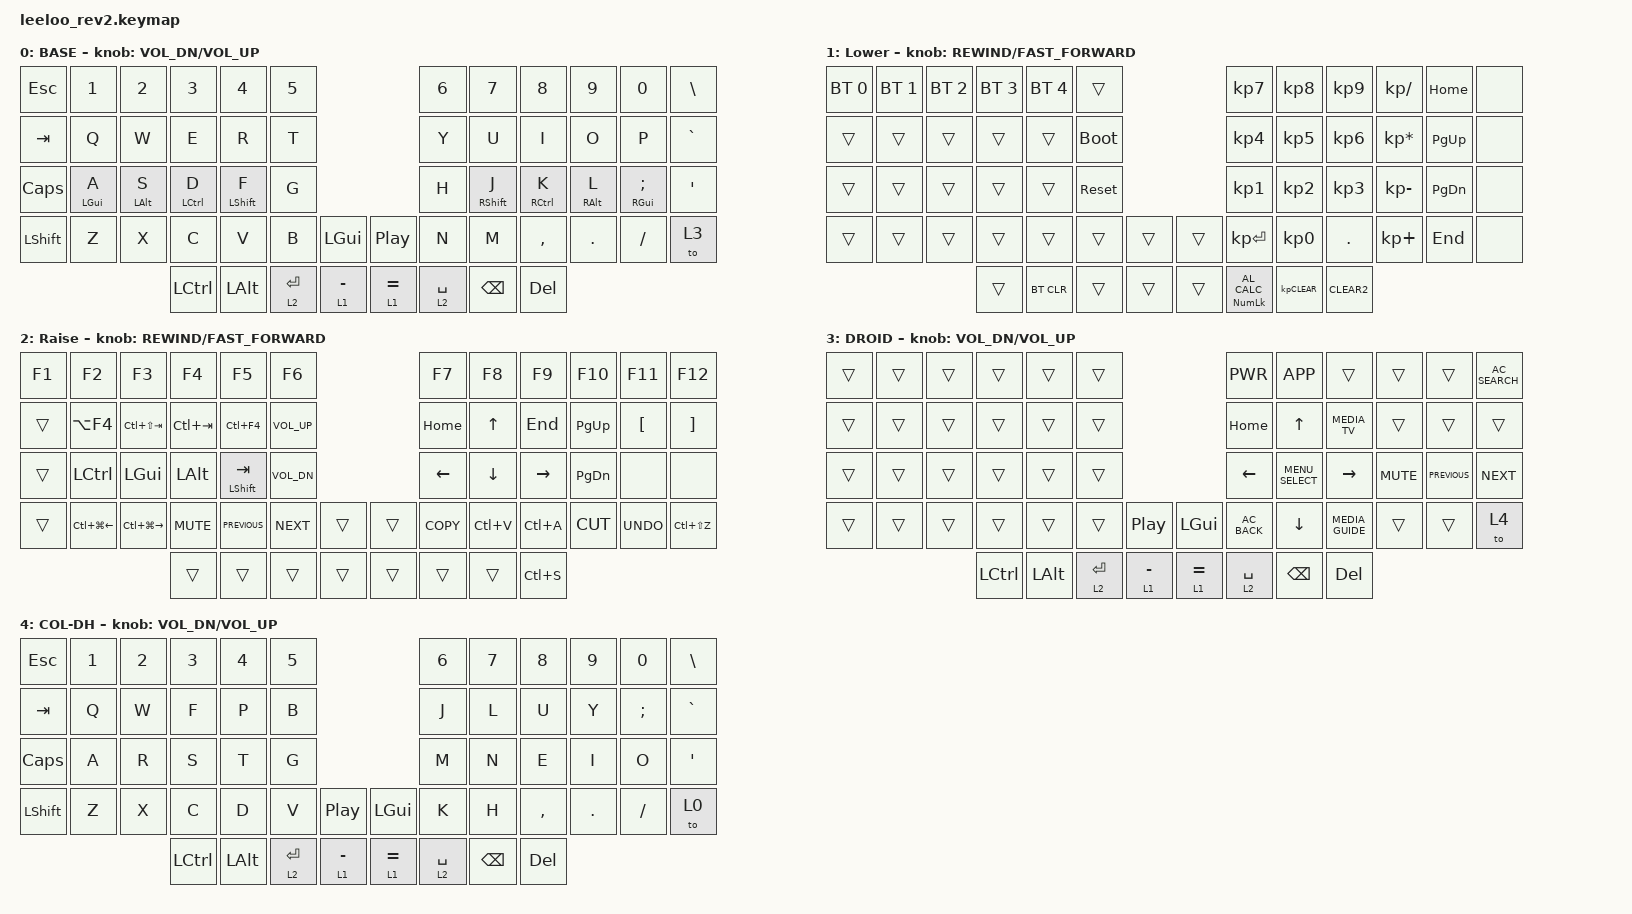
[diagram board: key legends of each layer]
/*
 * Copyright (c) 2022 The ZMK Contributors
 * SPDX-License-Identifier: MIT
 */
// $  west build -d build/left_v2 -p -b nice_nano_v2 -- -DSHIELD="leeloo_rev2_left nice_view_adapter nice_view" -DZMK_CONFIG="boards/shields/leeloo/"
// west build -d build/right_v2 -p -b nice_nano_v2 -- -DSHIELD="leeloo_rev2_right nice_view_adapter nice_view"
// west build -d build/left_v2 -p -b nice_nano_v2 -- -DSHIELD="leeloo_rev2_left nice_view_adapter nice_view"

#include <behaviors.dtsi>
#include <dt-bindings/zmk/outputs.h>
#include <dt-bindings/zmk/keys.h>
#include <dt-bindings/zmk/bt.h>

// Layers
#define BASE       0       // base_layer
#define LOWER      1       // lower_layer
#define RAISE      2       // raise_layer
#define DROID      3       // droid_layer
#define COLDH      4       // coldh_layer

// Key position groups
#define KEYS_L 0 1 2 3 4 5 12 13 14 15 16 17 24 25 26 27 28 29 36 37 38 39 40 41 42
#define KEYS_R 6 7 8 9 10 11 18 19 20 21 22 23 30 31 32 33 34 35 42 43 44 45 46 47 49

// Short versions
// Media / Android
#define APP     &kp K_APP
#define PWR     &kp K_PWR
#define TV      &kp C_MEDIA_TV
#define GUIDE   &kp C_MEDIA_GUIDE
#define SRCH    &kp C_AC_SEARCH
#define SEL     &kp C_MENU_SELECT
#define BACK    &kp C_AC_BACK
#define MUTE    &kp C_MUTE
#define NEXT    &kp C_NEXT
#define PREV    &kp C_PREVIOUS
#define FASTF   &kp C_FAST_FORWARD
#define REW     &kp C_REWIND

// Desktop and tab navigation shortcuts
#define D_LT   LC(LG(LEFT))
#define D_RT   LC(LG(RIGHT))
#define TAB_RT LC(TAB)
#define TAB_LT LC(LS(TAB))

// Undo, Cut, Copy, Paste, Redo 
#define PASTE  &kp LC(V)
#define REDO   &kp LC(LS(Z))
#define SELALL &kp LC(A)
#define SAVE   &kp LC(S)

/ {
    behaviors {
        am: alpha_mods {
            compatible = "zmk,behavior-hold-tap";
            label = "ALPHA_MT";
            #binding-cells = <2>;
            tapping-term-ms = <250>;
            quick-tap-ms = <150>;
            flavor = "tap-preferred";
            bindings = <&kp>, <&kp>;
        };
        aml: alpha_mods_l {
            compatible = "zmk,behavior-hold-tap";
            label = "ALPHA_MT_L";
            #binding-cells = <2>;
            tapping-term-ms = <250>;
            quick-tap-ms = <150>;
            flavor = "balanced";
            bindings = <&kp>, <&kp>;
            hold-trigger-key-positions = <KEYS_L>;
            hold-trigger-on-release;
            global-quick-tap;
        };
        asl: alpha_shift_l {
            compatible = "zmk,behavior-hold-tap";
            label = "ALPHA_SFT_L";
            #binding-cells = <2>;
            tapping-term-ms = <200>;
            quick-tap-ms = <150>;
            flavor = "balanced";
            bindings = <&kp>, <&kp>;
            hold-trigger-key-positions = <KEYS_L>;
            hold-trigger-on-release;
        };
        amr: alpha_mods_r {
            compatible = "zmk,behavior-hold-tap";
            label = "ALPHA_MT_R";
            #binding-cells = <2>;
            tapping-term-ms = <250>;
            quick-tap-ms = <150>;
            flavor = "balanced";
            bindings = <&kp>, <&kp>;
            hold-trigger-key-positions = <KEYS_R>;
            hold-trigger-on-release;
            global-quick-tap;
        };
        asr: alpha_shift_r {
            compatible = "zmk,behavior-hold-tap";
            label = "ALPHA_SFT_R";
            #binding-cells = <2>;
            tapping-term-ms = <200>;
            quick-tap-ms = <150>;
            flavor = "balanced";
            bindings = <&kp>, <&kp>;
            hold-trigger-key-positions = <KEYS_R>;
            hold-trigger-on-release;
        };
    };
  };

nice_view_spi: &spi0 {
    cs-gpios = <&pro_micro 4 GPIO_ACTIVE_HIGH>;
    // compatible = "nordic,nrf-spim";
    // pinctrl-0 = <&spi0_default>;
    // pinctrl-1 = <&spi0_sleep>;
    // pinctrl-names = "default", "sleep";
};


/ {

    keymap {
        compatible = "zmk,keymap";

        base_layer {
            label = " BASE";
            bindings = <
&kp ESC   &kp N1      &kp N2      &kp N3       &kp N4       &kp N5                             &kp N6       &kp N7       &kp N8       &kp N9      &kp N0         &kp BSLH
&kp TAB   &kp Q       &kp W       &kp E        &kp R        &kp T                              &kp Y        &kp U        &kp I        &kp O       &kp P          &kp GRAVE
&kp CAPS  &aml LGUI A &aml LALT S &aml LCTRL D &asl LSHFT F &kp G                              &kp H        &asr RSHFT J &amr RCTRL K &amr RALT L &amr RGUI SEMI &kp SQT
&kp LSHFT &kp Z       &kp X       &kp C        &kp V        &kp B      &kp LGUI    &kp C_PP    &kp N        &kp M        &kp COMMA    &kp DOT     &kp FSLH       &to 3
                                  &kp LCTRL    &kp LALT     &lt 2 RET  &lt 1 MINUS &lt 1 EQUAL &lt 2 SPACE  &kp BSPC     &kp DEL
            >;

             sensor-bindings = <&inc_dec_kp C_VOL_DN C_VOL_UP>;
        };

        lower_layer {
            label = " Lower";
            bindings = <
&bt BT_SEL 0  &bt BT_SEL 1  &bt BT_SEL 2  &bt BT_SEL 3  &bt BT_SEL 4  &trans                           &kp KP_N7    &kp KP_N8  &kp KP_N9  &kp KP_DIVIDE    &kp HOME  &none
&trans        &trans        &trans        &trans        &trans        &bootloader                      &kp KP_N4    &kp KP_N5  &kp KP_N6  &kp KP_MULTIPLY  &kp PG_UP &none
&trans        &trans        &trans        &trans        &trans        &sys_reset                       &kp KP_N1    &kp KP_N2  &kp KP_N3  &kp KP_MINUS     &kp PG_DN &none
&trans        &trans        &trans        &trans        &trans        &trans     &trans        &trans  &kp KP_ENTER &kp KP_N0  &kp DOT    &kp KP_PLUS      &kp END   &none
                                          &trans        &bt BT_CLR    &trans     &trans        &trans  &am KP_NUM C_AL_CALC  &kp KP_CLEAR &kp CLEAR2
            >;

             sensor-bindings = <&inc_dec_kp C_REWIND C_FAST_FORWARD>;
        };

        raise_layer {
            label = " Raise";
            bindings = <
&kp F1  &kp F2     &kp F3     &kp F4     &kp F5          &kp F6                           &kp F7     &kp F8     &kp F9     &kp F10    &kp F11    &kp F12
&trans  &kp LA(F4) &kp TAB_LT &kp TAB_RT &kp LC(F4)      &kp C_VOL_UP                     &kp HOME   &kp UP     &kp END    &kp PG_UP  &kp LBKT   &kp RBKT
&trans  &kp LCTRL  &kp LGUI   &kp LALT   &am LSHFT TAB   &kp C_VOL_DN                     &kp LEFT   &kp DOWN   &kp RIGHT  &kp PG_DN  &none      &none
&trans  &kp D_LT   &kp D_RT   MUTE       PREV            NEXT       &trans     &trans     &kp K_COPY PASTE      SELALL     &kp K_CUT  &kp K_UNDO REDO
                              &trans     &trans          &trans     &trans     &trans     &trans     &trans     SAVE
            >;

             sensor-bindings = <&inc_dec_kp C_REWIND C_FAST_FORWARD>;
        };

        droid_layer {
            label = " DROID";
            bindings = <
&trans     &trans     &trans     &trans     &trans     &trans                           PWR           APP           &trans        &trans        &trans        SRCH
&trans     &trans     &trans     &trans     &trans     &trans                           &kp HOME      &kp UP        TV            &trans        &trans        &trans
&trans     &trans     &trans     &trans     &trans     &trans                           &kp LEFT      SEL           &kp RIGHT     MUTE          PREV          NEXT  
&trans     &trans     &trans     &trans     &trans     &trans     &kp C_PP   &kp LGUI   BACK          &kp DOWN      GUIDE         &trans        &trans        &to 4
                             &kp LCTRL   &kp LALT  &lt 2 RET  &lt 1 MINUS    &lt 1 EQUAL  &lt 2 SPACE  &kp BSPC   &kp DEL
            >;

             sensor-bindings = <&inc_dec_kp C_VOL_DN C_VOL_UP>;
        };

        coldh_layer {
            label = " COL-DH";
            bindings = <
&kp ESC    &kp N1     &kp N2     &kp N3     &kp N4     &kp N5                           &kp N6     &kp N7     &kp N8     &kp N9     &kp N0     &kp BSLH
&kp TAB    &kp Q      &kp W      &kp F      &kp P      &kp B                            &kp J      &kp L      &kp U      &kp Y      &kp SEMI   &kp GRAVE
&kp CAPS   &kp A      &kp R      &kp S      &kp T      &kp G                            &kp M      &kp N      &kp E      &kp I      &kp O      &kp SQT
&kp LSHFT  &kp Z      &kp X      &kp C      &kp D      &kp V     &kp C_PP    &kp LGUI   &kp K      &kp H      &kp COMMA  &kp DOT    &kp FSLH   &to 0
                             &kp LCTRL   &kp LALT  &lt 2 RET  &lt 1 MINUS    &lt 1 EQUAL  &lt 2 SPACE  &kp BSPC   &kp DEL
            >;

             sensor-bindings = <&inc_dec_kp C_VOL_DN C_VOL_UP>;
        };
    };
};
